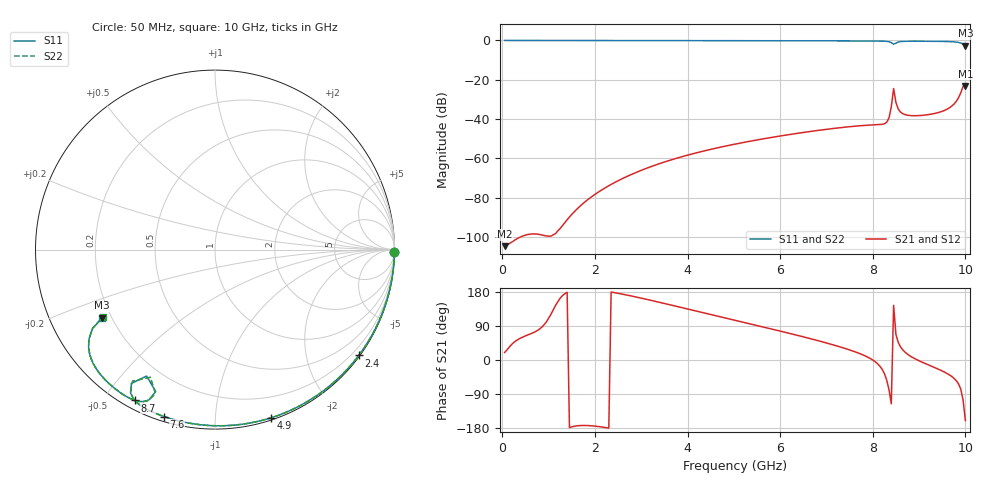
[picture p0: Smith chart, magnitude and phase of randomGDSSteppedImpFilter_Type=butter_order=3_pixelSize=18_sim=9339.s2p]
! freq	dB(S11)	phase(S11)	dB(S12)	phase(S12)
!  dB(S21)	phase(S21)	dB(S22)	phase(S22)
!S-par simulation data
#  GHz  S  DB  R 50
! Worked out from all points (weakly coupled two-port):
!   200 points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, 50 MHz to 10 GHz, reference 50 ohm
!   highest |S21| = -23.17 dB at 10 GHz (marker M1); lowest = -104.7 dB at 50 MHz (marker M2)
!   lowest |S11| = -2.7 dB at 10 GHz (marker M3), VSWR 6.53, Z = 8.24 - j13.6 ohm
!   |S11| at or under -10 dB: nowhere
!   |S22| runs from -2.7 to 0.0 dB; largest |S21 - S12| = 0
!   S11 on the Smith chart (normalised r, x): 50 MHz: open; 2.4 GHz: 0.03, -3.05; 4.9 GHz: 0.02, -1.38; 7.6 GHz: 0.02, -0.74; 8.7 GHz: 0.03, -0.60; 10 GHz: 0.16, -0.27
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0.05  -0.00 -0.8  -104.73 19.8  -104.73 19.8  -0.00 -0.8
1.75  -0.03 -26.7  -82.88 -172.8  -82.88 -172.8  -0.03 -26.7
1.9  -0.04 -28.9  -80.06 -173.4  -80.06 -173.4  -0.04 -28.9
2.4  -0.05 -36.4  -72.66 178.3  -72.66 178.3  -0.05 -36.4
3.4  -0.07 -50.9  -62.67 152.1  -62.67 152.1  -0.07 -50.9
4.9  -0.11 -71.7  -53.38 108.3  -53.38 108.3  -0.11 -71.7
5.05  -0.11 -73.7  -52.66 104.0  -52.66 104.0  -0.11 -73.7
6.7  -0.18 -95.3  -46.17 54.8  -46.17 54.8  -0.18 -95.3
7.6  -0.24 -107.0  -43.68 22.3  -43.68 22.3  -0.24 -107.0
8.2  -0.35 -116.1  -42.71 -24.1  -42.71 -24.1  -0.35 -116.3
8.3  -0.47 -118.6  -41.67 -52.6  -41.67 -52.6  -0.49 -118.9
8.35  -0.64 -120.4  -39.49 -78.1  -39.49 -78.1  -0.69 -120.7
8.4  -1.11 -122.0  -33.82 -115.7  -33.82 -115.7  -1.26 -122.1
8.45  -1.93 -118.4  -24.48 144.4  -24.48 144.4  -1.97 -116.8
8.5  -1.34 -112.7  -31.56 67.5  -31.56 67.5  -1.23 -112.5
8.55  -0.77 -113.7  -34.93 46.3  -34.93 46.3  -0.73 -113.8
8.7  -0.43 -118.0  -37.78 20.3  -37.78 20.3  -0.43 -118.0
9.15  -0.41 -125.8  -37.92 -10.3  -37.92 -10.3  -0.41 -125.8
9.6  -0.54 -134.2  -35.04 -35.3  -35.04 -35.3  -0.54 -134.2
9.8  -0.83 -140.2  -31.11 -54.1  -31.11 -54.1  -0.83 -140.2
9.95  -1.80 -147.2  -23.40 -105.9  -23.40 -105.9  -1.83 -147.3
10  -2.68 -148.9  -23.17 -159.8  -23.17 -159.8  -2.73 -149.0
